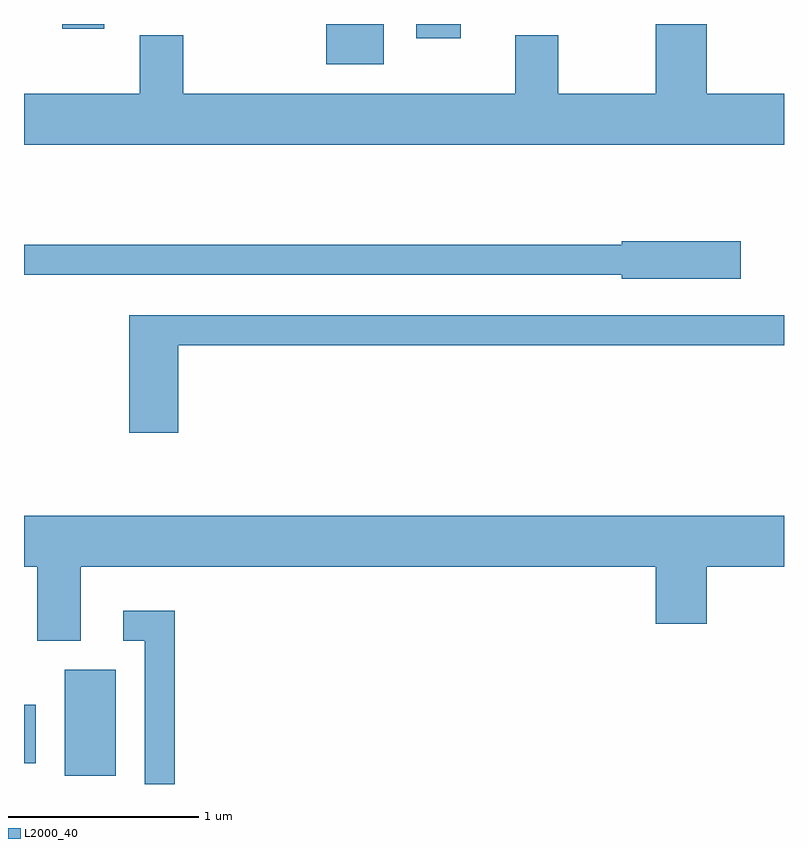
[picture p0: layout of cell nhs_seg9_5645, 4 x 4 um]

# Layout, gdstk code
import gdstk
lib = gdstk.Library(unit=1e-6, precision=1e-09)
def R(c, l, rs):  # rectangles x0, y0, x1, y1
    for r in rs: c.add(gdstk.rectangle(r[:2], r[2:], *l))
def P(c, l, *ps):  # polygons
    for p in ps: c.add(gdstk.Polygon(p, *l))
L2000_40 = (2000, 40)

nhs_seg9_5645 = lib.new_cell('nhs_seg9_5645')
R(nhs_seg9_5645, L2000_40, [(351.826,2008.476,352.094,2009.034), (351.611,2008.541,351.674,2008.849), (353.201,2012.221,353.504,2012.432), (353.676,2012.356,353.909,2012.432), (351.811,2012.406,352.034,2012.432)])
P(nhs_seg9_5645, L2000_40, [(355.611,2012.064),(355.204,2012.064),(355.204,2012.432),(354.936,2012.432),(354.936,2012.064),(354.424,2012.064),(354.424,2012.374),(354.196,2012.374),(354.196,2012.064),(352.449,2012.064),(352.449,2012.374),(352.221,2012.374),(352.221,2012.064),(351.611,2012.064),(351.611,2011.796),(355.611,2011.796)],
  [(355.384,2011.289),(354.756,2011.289),(354.756,2011.269),(351.611,2011.269),(351.611,2011.111),(354.756,2011.111),(354.756,2011.091),(355.384,2011.091)],
  [(352.424,2010.741),(355.611,2010.741),(355.611,2010.899),(352.166,2010.899),(352.166,2010.281),(352.424,2010.281)],
  [(351.909,2009.576),(354.936,2009.576),(354.936,2009.276),(355.204,2009.276),(355.204,2009.576),(355.611,2009.576),(355.611,2009.844),(351.611,2009.844),(351.611,2009.576),(351.681,2009.576),(351.681,2009.186),(351.909,2009.186)],
  [(352.404,2009.344),(352.133,2009.344),(352.133,2009.186),(352.246,2009.186),(352.246,2008.432),(352.404,2008.432)])

lib.write_gds('nhs_seg9_5645.gds')
